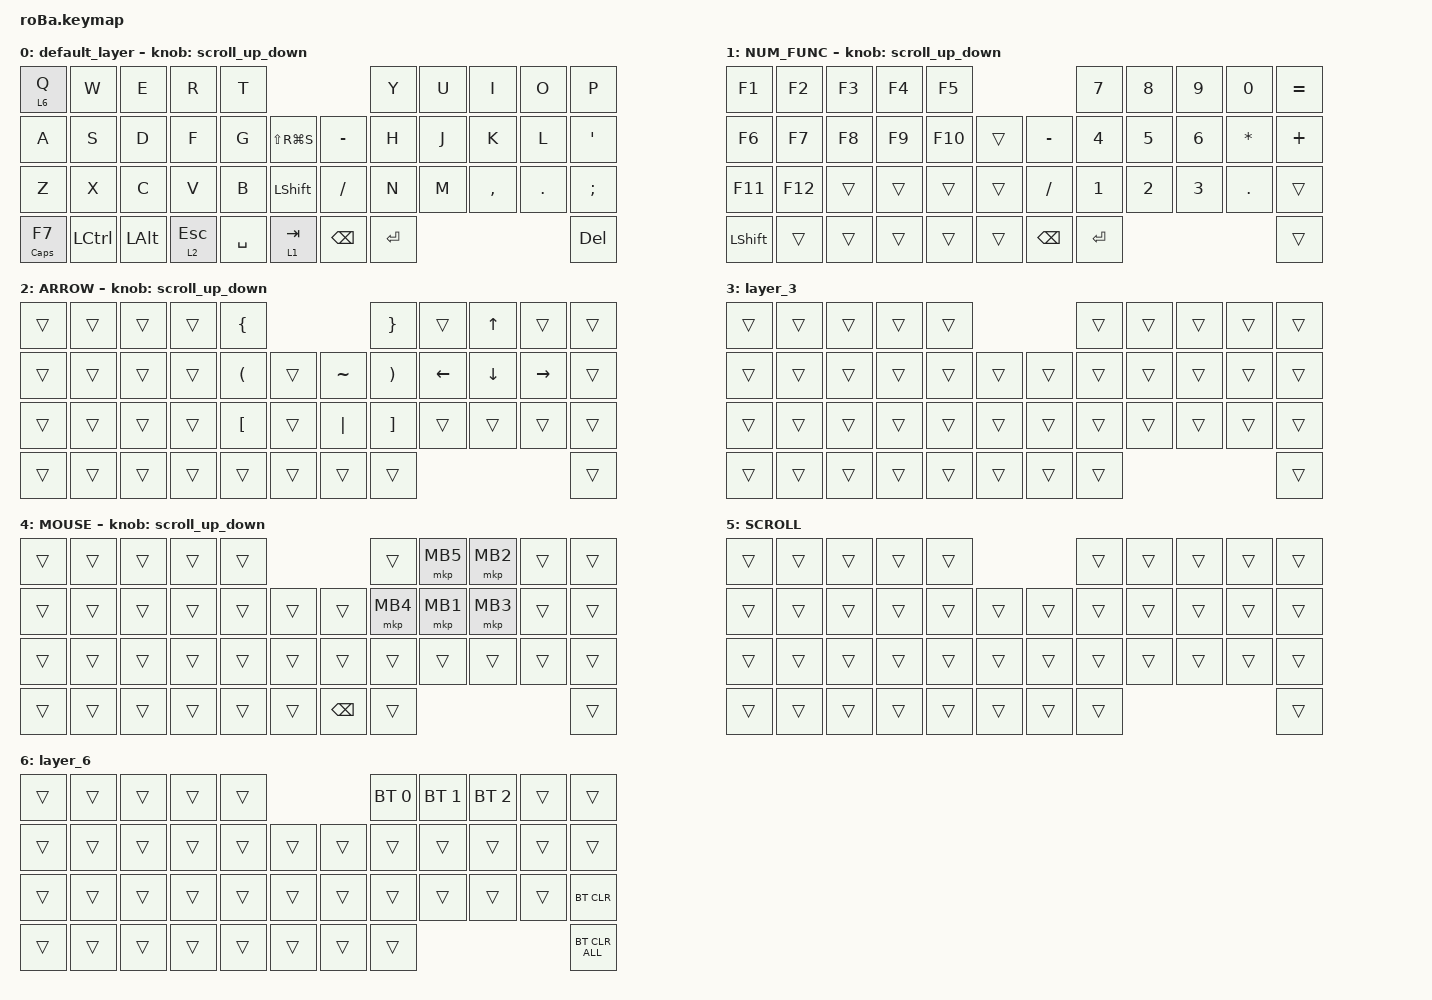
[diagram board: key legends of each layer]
#include <behaviors.dtsi>
#include <dt-bindings/zmk/bt.h>
#include <dt-bindings/zmk/keys.h>
#include <dt-bindings/zmk/pointing.h>

#define ZMK_POINTING_DEFAULT_SCRL_VAL 80

&mt {
    flavor = "balanced";
    quick-tap-ms = <0>;
};

&trackball {
    automouse-layer = <4>;
    scroll-layers = <5>;
};

/ {
    combos {
        compatible = "zmk,combos";

        tab {
            bindings = <&kp TAB>;
            key-positions = <11 12>;
        };

        shift_tab {
            bindings = <&kp LS(TAB)>;
            key-positions = <12 13>;
        };

        muhennkann {
            bindings = <&to_layer_0 INT_MUHENKAN>;
            key-positions = <11 10>;
        };

        double_quotation {
            bindings = <&kp DQT>;
            key-positions = <20 21>;
        };

        eq {
            bindings = <&kp EQUAL>;
            key-positions = <24 25>;
        };
    };

    macros {
        to_layer_0: to_layer_0 {
            compatible = "zmk,behavior-macro-one-param";
            #binding-cells = <1>;
            bindings = <&to 0 &macro_param_1to1 &kp MACRO_PLACEHOLDER>;
            label = "TO_LAYER_0";
        };

        sniping_tool: sniping_tool {
            compatible = "zmk,behavior-macro";
            #binding-cells = <0>;
            bindings =
                <&macro_press>,
                <&kp RIGHT_GUI>,
                <&macro_press>,
                <&kp LEFT_SHIFT>,
                <&macro_press>,
                <&kp S>,
                <&macro_release>;

            label = "SNIPING_TOOL";
        };

        mkp_exit_AML: mkp_exit_AML {
            compatible = "zmk,behavior-macro-one-param";
            #binding-cells = <1>;
            bindings =
                <&macro_press>,
                <&macro_param_1to1 &mkp MACRO_PLACEHOLDER>,
                <&macro_pause_for_release>,
                <&macro_release>,
                <&macro_param_1to1 &mkp MACRO_PLACEHOLDER>,
                <&macro_tap>,
                <&sl 4>;

            label = "MKP_EXIT_AML";
        };
    };

    behaviors {
        scroll_up_down: behavior_sensor_rotate_mouse_wheel_up_down {
            compatible = "zmk,behavior-sensor-rotate";
            #sensor-binding-cells = <0>;
            bindings = <&msc SCRL_UP>, <&msc SCRL_DOWN>;

            // 追加: スクロールのタップ時間を設定 (20ms)

            tap-ms = <20>;
        };

        lt_to_layer_0: lt_to_layer_0 {
            compatible = "zmk,behavior-hold-tap";
            label = "LAYER_TAP_TO_0";
            bindings = <&mo>, <&to_layer_0>;

            #binding-cells = <2>;
            tapping-term-ms = <200>;
        };
    };

    keymap {
        compatible = "zmk,keymap";

        default_layer {
            bindings = <
&lt 6 Q          &kp W             &kp E         &kp R         &kp T                                         &kp Y      &kp U  &kp I      &kp O    &kp P
&kp A            &kp S             &kp D         &kp F         &kp G      &kp LS(RG(S))       &kp MINUS      &kp H      &kp J  &kp K      &kp L    &kp SQT
&kp Z            &kp X             &kp C         &kp V         &kp B      &kp LEFT_SHIFT      &kp SLASH      &kp N      &kp M  &kp COMMA  &kp DOT  &kp SEMICOLON
&mt CAPSLOCK F7  &kp LEFT_CONTROL  &kp LEFT_ALT  &lt 2 ESCAPE  &kp SPACE  &lt 1 TAB           &kp BACKSPACE  &kp ENTER                             &kp DEL
            >;

            sensor-bindings = <&scroll_up_down>;
        };

        NUM_FUNC {
            bindings = <
&kp F1          &kp F2   &kp F3  &kp F4  &kp F5                              &kp NUMBER_7  &kp NUMBER_8  &kp NUMBER_9  &kp NUMBER_0  &kp EQUAL
&kp F6          &kp F7   &kp F8  &kp F9  &kp F10  &trans      &kp MINUS      &kp NUMBER_4  &kp NUMBER_5  &kp NUMBER_6  &kp ASTERISK  &kp PLUS
&kp F11         &kp F12  &trans  &trans  &trans   &trans      &kp SLASH      &kp NUMBER_1  &kp NUMBER_2  &kp NUMBER_3  &kp PERIOD    &trans
&kp LEFT_SHIFT  &trans   &trans  &trans  &trans   &trans      &kp BACKSPACE  &kp ENTER                                               &trans
            >;

            sensor-bindings = <&scroll_up_down>;
        };

        ARROW {
            bindings = <
&trans  &trans  &trans  &trans  &kp LEFT_BRACE                               &kp RIGHT_BRACE        &trans          &kp UP_ARROW    &trans           &trans
&trans  &trans  &trans  &trans  &kp LEFT_PARENTHESIS  &trans      &kp TILDE  &kp RIGHT_PARENTHESIS  &kp LEFT_ARROW  &kp DOWN_ARROW  &kp RIGHT_ARROW  &trans
&trans  &trans  &trans  &trans  &kp LEFT_BRACKET      &trans      &kp PIPE   &kp RIGHT_BRACKET      &trans          &trans          &trans           &trans
&trans  &trans  &trans  &trans  &trans                &trans      &trans     &trans                                                                  &trans
            >;

            sensor-bindings = <&scroll_up_down>;
        };

        layer_3 {
            bindings = <
&trans  &trans  &trans  &trans  &trans                      &trans  &trans  &trans  &trans  &trans
&trans  &trans  &trans  &trans  &trans  &trans      &trans  &trans  &trans  &trans  &trans  &trans
&trans  &trans  &trans  &trans  &trans  &trans      &trans  &trans  &trans  &trans  &trans  &trans
&trans  &trans  &trans  &trans  &trans  &trans      &trans  &trans                          &trans
            >;
        };

        MOUSE {
            bindings = <
&trans  &trans  &trans  &trans  &trans                             &trans    &mkp MB5  &mkp MB2  &trans  &trans
&trans  &trans  &trans  &trans  &trans  &trans      &trans         &mkp MB4  &mkp MB1  &mkp MB3  &trans  &trans
&trans  &trans  &trans  &trans  &trans  &trans      &trans         &trans    &trans    &trans    &trans  &trans
&trans  &trans  &trans  &trans  &trans  &trans      &kp BACKSPACE  &trans                                &trans
            >;

            sensor-bindings = <&scroll_up_down>;
        };

        SCROLL {
            bindings = <
&trans  &trans  &trans  &trans  &trans                      &trans  &trans  &trans  &trans  &trans
&trans  &trans  &trans  &trans  &trans  &trans      &trans  &trans  &trans  &trans  &trans  &trans
&trans  &trans  &trans  &trans  &trans  &trans      &trans  &trans  &trans  &trans  &trans  &trans
&trans  &trans  &trans  &trans  &trans  &trans      &trans  &trans                          &trans
            >;
        };

        layer_6 {
            bindings = <
&trans  &trans  &trans  &trans  &trans                      &bt BT_SEL 0  &bt BT_SEL 1  &bt BT_SEL 2  &trans  &trans
&trans  &trans  &trans  &trans  &trans  &trans      &trans  &trans        &trans        &trans        &trans  &trans
&trans  &trans  &trans  &trans  &trans  &trans      &trans  &trans        &trans        &trans        &trans  &bt BT_CLR
&trans  &trans  &trans  &trans  &trans  &trans      &trans  &trans                                            &bt BT_CLR_ALL
            >;
        };
    };
};
